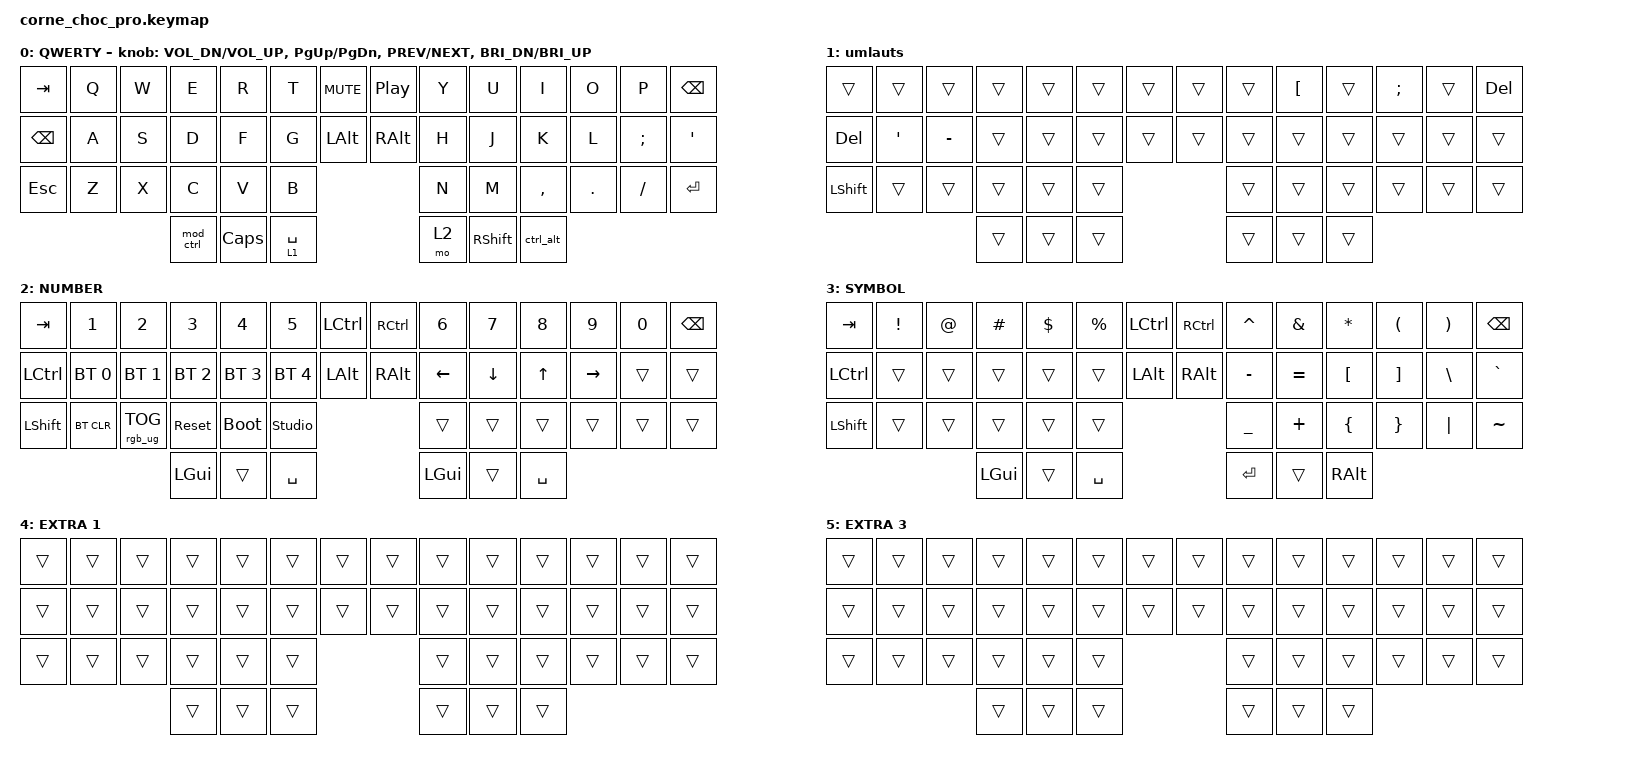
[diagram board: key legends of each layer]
/*
 * Copyright (c) 2020 The ZMK Contributors
 *
 * SPDX-License-Identifier: MIT
 */

#include <behaviors.dtsi>
#include <dt-bindings/zmk/bt.h>
#include <dt-bindings/zmk/keys.h>
#include <dt-bindings/zmk/rgb.h>

/ {
    chosen { zmk,physical-layout = &default_layout; };
};

/ {
    combos {
        compatible = "zmk,combos";

        combo_layer1 {
            bindings = <&mo 2>;
            key-positions = <41 44>;
            slow-release;
            layers = <0>;
        };
    };

    behaviors {
        mod_ctrl: mod_ctrl {
            compatible = "zmk,behavior-tap-dance";
            label = "MOD_CTRL";
            #binding-cells = <0>;
            bindings = <&kp LMETA>, <&kp LCTRL>;
        };

        ctrl_alt: ctrl_alt {
            compatible = "zmk,behavior-tap-dance";
            label = "CTRL_ALT";
            #binding-cells = <0>;
            bindings = <&kp LCTRL>, <&kp LALT>;
        };
    };

    keymap {
        compatible = "zmk,keymap";

        default_layer {
            display-name = "QWERTY";

            // --------------------------------------------------------------------------------
            // |  TAB |  Q  |  W  |  E  |  R  |  T  |  MUTE |  PP   |  Y  |  U   |  I  |  O  |  P  | BSPC |
            // | CTRL |  A  |  S  |  D  |  F  |  G  |  LALT |  RALT |  H  |  J   |  K  |  L  |  ;  |  '   |
            // | SHFT |  Z  |  X  |  C  |  V  |  B  |               |  N  |  M   |  ,  |  .  |  /  | ESC  |
            //                    | GUI | LWR | SPC |               | ENT | RSE  | ALT |

            bindings = <
&kp TAB        &kp Q  &kp W  &kp E      &kp R     &kp T        &kp C_MUTE  &kp C_PP  &kp Y  &kp U       &kp I      &kp O    &kp P     &kp BSPC
&kp BACKSPACE  &kp A  &kp S  &kp D      &kp F     &kp G        &kp LALT    &kp RALT  &kp H  &kp J       &kp K      &kp L    &kp SEMI  &kp SQT
&kp ESC        &kp Z  &kp X  &kp C      &kp V     &kp B                              &kp N  &kp M       &kp COMMA  &kp DOT  &kp FSLH  &kp ENTER
                             &mod_ctrl  &kp CAPS  &lt 1 SPACE                        &mo 2  &kp RSHIFT  &ctrl_alt
            >;

            sensor-bindings = <&inc_dec_kp C_VOL_DN C_VOL_UP &inc_dec_kp PG_UP PG_DN &inc_dec_kp C_PREV C_NEXT &inc_dec_kp C_BRI_DN C_BRI_UP>;
        };

        layer1 {
            display-name = "umlauts";
            bindings = <
&trans      &trans   &trans     &trans  &trans  &trans  &trans  &trans  &trans  &kp LBKT  &trans  &kp SEMI  &trans  &kp DEL
&kp DEL     &kp SQT  &kp MINUS  &trans  &trans  &trans  &trans  &trans  &trans  &trans    &trans  &trans    &trans  &trans
&kp LSHIFT  &trans   &trans     &trans  &trans  &trans                  &trans  &trans    &trans  &trans    &trans  &trans
                                &trans  &trans  &trans                  &trans  &trans    &trans
            >;
        };

        layer2 {
            display-name = "NUMBER";

            // -----------------------------------------------------------------------------------------
            // |  TAB |  1  |  2  |  3  |  4  |  5    |  LCTRL | RCTRL |  6  |  7  |  8  |  9  |  0  | BSPC |
            // | CTRL | BT1 | BT2 | BT3 | BT4 | BT5   |  LALT  | RALT  | LFT | DWN |  UP | RGT |     |      |
            // | SHFT | BTCR| RGB | RST | BOOT| Unlock|        |       |     |     |     |     |     |      |
            //                    | GUI |     | SPC   |        | ENT   |     | ALT |

            bindings = <
&kp TAB    &kp N1        &kp N2           &kp N3        &kp N4        &kp N5          &kp LCTRL  &kp RCTRL  &kp N6    &kp N7    &kp N8     &kp N9     &kp N0  &kp BSPC
&kp LCTRL  &bt BT_SEL 0  &bt BT_SEL 1     &bt BT_SEL 2  &bt BT_SEL 3  &bt BT_SEL 4    &kp LALT   &kp RALT   &kp LEFT  &kp DOWN  &kp UP     &kp RIGHT  &trans  &trans
&kp LSHFT  &bt BT_CLR    &rgb_ug RGB_TOG  &sys_reset    &bootloader   &studio_unlock                        &trans    &trans    &trans     &trans     &trans  &trans
                                          &kp LGUI      &trans        &kp SPACE                             &kp LGUI  &trans    &kp SPACE
            >;
        };

        raise_layer {
            display-name = "SYMBOL";

            // -----------------------------------------------------------------------------------------
            // |  TAB |  !  |  @  |  #  |  $  |  %  | LCTRL | RCTRL |  ^  |  &  |  *  |  (  |  )  | BSPC |
            // | CTRL |     |     |     |     |     |  LALT | RALT  |  -  |  =  |  [  |  ]  |  \  |  `   |
            // | SHFT |     |     |     |     |     |               |  _  |  +  |  {  |  }  | "|" |  ~   |
            //                    | GUI |     | SPC |               | ENT |     | ALT |

            bindings = <
&kp TAB    &kp EXCL  &kp AT  &kp HASH  &kp DLLR  &kp PRCNT  &kp LCTRL  &kp RCTRL  &kp CARET  &kp AMPS   &kp ASTRK  &kp LPAR  &kp RPAR  &kp BSPC
&kp LCTRL  &trans    &trans  &trans    &trans    &trans     &kp LALT   &kp RALT   &kp MINUS  &kp EQUAL  &kp LBKT   &kp RBKT  &kp BSLH  &kp GRAVE
&kp LSHFT  &trans    &trans  &trans    &trans    &trans                           &kp UNDER  &kp PLUS   &kp LBRC   &kp RBRC  &kp PIPE  &kp TILDE
                             &kp LGUI  &trans    &kp SPACE                        &kp RET    &trans     &kp RALT
            >;
        };

        extra_layer_1 {
            display-name = "EXTRA 1";
            bindings = <
&trans  &trans  &trans  &trans  &trans  &trans  &trans  &trans  &trans  &trans  &trans  &trans  &trans  &trans
&trans  &trans  &trans  &trans  &trans  &trans  &trans  &trans  &trans  &trans  &trans  &trans  &trans  &trans
&trans  &trans  &trans  &trans  &trans  &trans                  &trans  &trans  &trans  &trans  &trans  &trans
                        &trans  &trans  &trans                  &trans  &trans  &trans
            >;
        };

        extra_layer_3 {
            display-name = "EXTRA 3";
            bindings = <
&trans  &trans  &trans  &trans  &trans  &trans  &trans  &trans  &trans  &trans  &trans  &trans  &trans  &trans
&trans  &trans  &trans  &trans  &trans  &trans  &trans  &trans  &trans  &trans  &trans  &trans  &trans  &trans
&trans  &trans  &trans  &trans  &trans  &trans                  &trans  &trans  &trans  &trans  &trans  &trans
                        &trans  &trans  &trans                  &trans  &trans  &trans
            >;
        };
    };
};
